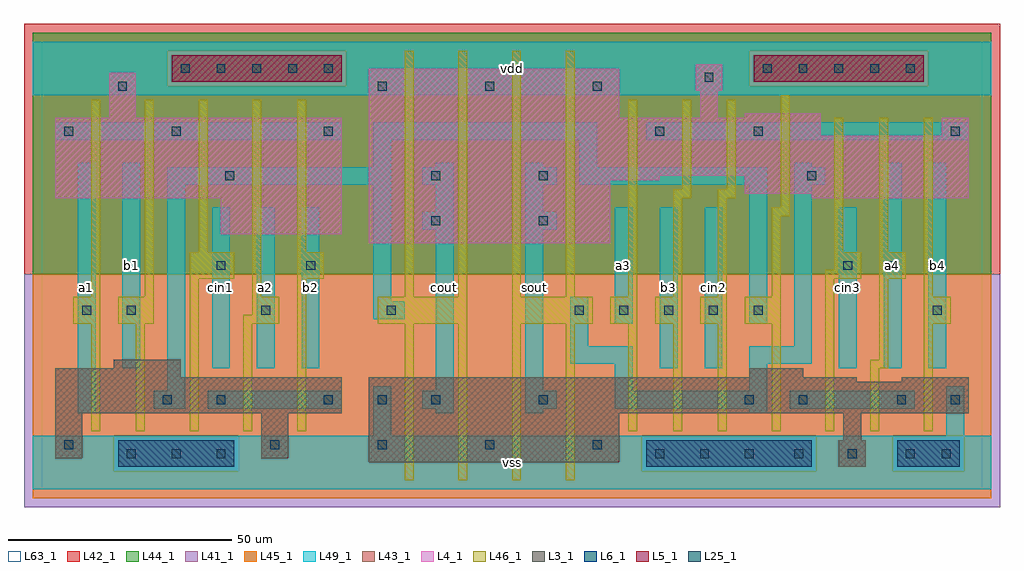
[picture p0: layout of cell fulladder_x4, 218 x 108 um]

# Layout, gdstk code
import gdstk
lib = gdstk.Library(unit=1e-6, precision=1e-09)
def R(c, l, rs):  # rectangles x0, y0, x1, y1
    for r in rs: c.add(gdstk.rectangle(r[:2], r[2:], *l))
def A(c, l, x, y, w, h, nx, ny, dx, dy):  # array of equal rectangles
    R(c, l, [(x+i*dx, y+j*dy, x+i*dx+w, y+j*dy+h) for i in range(nx) for j in range(ny)])
L3_1 = (3, 1)
L4_1 = (4, 1)
L5_1 = (5, 1)
L6_1 = (6, 1)
L25_1 = (25, 1)
L41_1 = (41, 1)
L42_1 = (42, 1)
L43_1 = (43, 1)
L44_1 = (44, 1)
L45_1 = (45, 1)
L46_1 = (46, 1)
L49_1 = (49, 1)
L63_1 = (63, 1)

fulladder_x4 = lib.new_cell('fulladder_x4')
R(fulladder_x4, L3_1, [(178,5,184,11), (73,6,129,17), (3,7,9,17), (49,7,55,17), (179,11,183,17), (3,17,67,25), (73,17,207,24), (73,24,182,25), (192,24,207,25), (3,25,31,27), (158,25,170,27), (16,27,31,29)])
R(fulladder_x4, L4_1, [(73,55,127,69), (40,57,67,65), (3,65,67,83), (172,65,207,66), (157,66,207,70), (73,69,138,70), (73,70,207,79), (73,79,174,83), (201,79,207,83), (15,83,21,93), (73,83,129,94), (147,83,151,89), (157,83,174,84), (146,89,152,95)])
R(fulladder_x4, L5_1, [(29,91,67,97), (159,91,197,97)])
R(fulladder_x4, L6_1, [(17,5,43,11), (17,5,43,11), (135,5,172,11), (135,5,172,11), (191,5,205,11), (191,5,205,11)])
A(fulladder_x4, L25_1, 19, 7, 2, 2, 3, 1, 10, 0)
A(fulladder_x4, L25_1, 137, 7, 2, 2, 3, 1, 10, 0)
A(fulladder_x4, L25_1, 51, 9, 2, 2, 4, 1, 24, 0)
A(fulladder_x4, L25_1, 63, 19, 2, 2, 3, 1, 12, 0)
A(fulladder_x4, L25_1, 119, 39, 2, 2, 5, 1, 10, 0)
A(fulladder_x4, L25_1, 75, 89, 2, 2, 3, 1, 24, 0)
A(fulladder_x4, L25_1, 31, 93, 2, 2, 5, 1, 8, 0)
A(fulladder_x4, L25_1, 161, 93, 2, 2, 5, 1, 8, 0)
R(fulladder_x4, L25_1, [(168,7,170,9), (180,7,182,9), (193,7,195,9), (201,7,203,9), (5,9,7,11), (27,19,29,21), (39,19,41,21), (111,19,113,21), (157,19,159,21), (169,19,171,21), (191,19,193,21), (203,19,205,21), (9,39,11,41), (19,39,21,41), (49,39,51,41), (77,39,79,41), (199,39,201,41), (39,49,41,51), (59,49,61,51), (179,49,181,51), (189,49,191,51), (87,59,89,61), (111,59,113,61), (41,69,43,71), (87,69,89,71), (111,69,113,71), (171,69,173,71), (5,79,7,81), (29,79,31,81), (63,79,65,81), (137,79,139,81), (159,79,161,81), (203,79,205,81), (17,89,19,91), (148,91,150,93)])
R(fulladder_x4, L41_1, [(-4,-4,214,48)])
R(fulladder_x4, L42_1, [(-4,48,214,104)])
R(fulladder_x4, L43_1, [(17,5,43,11), (135,5,172,11), (178,5,184,11), (191,5,205,11), (73,6,129,17), (3,7,9,17), (49,7,55,17), (179,11,183,17), (3,17,67,25), (73,17,207,24), (73,24,182,25), (192,24,207,25), (3,25,31,27), (158,25,170,27), (16,27,31,29), (73,55,127,69), (40,57,67,65), (3,65,67,83), (172,65,207,66), (157,66,207,70), (73,69,138,70), (73,70,207,79), (73,79,174,83), (201,79,207,83), (15,83,21,93), (73,83,129,94), (147,83,151,89), (157,83,174,84), (146,89,152,95), (29,91,67,97), (159,91,197,97)])
R(fulladder_x4, L44_1, [(16,4,44,12), (134,4,173,12), (190,4,206,12), (-2,48,212,90), (-2,90,28,98), (68,90,158,98), (198,90,212,98), (-2,98,212,102)])
R(fulladder_x4, L45_1, [(-2,-2,212,4), (-2,4,16,12), (44,4,134,12), (173,4,190,12), (206,4,212,12), (-2,12,212,48), (28,90,68,98), (158,90,198,98)])
A(fulladder_x4, L46_1, 81, 2, 2, 35, 4, 1, 12, 0)
A(fulladder_x4, L46_1, 131, 13, 2, 24, 3, 1, 10, 0)
A(fulladder_x4, L46_1, 127, 37, 6, 6, 3, 1, 10, 0)
A(fulladder_x4, L46_1, 81, 43, 2, 55, 4, 1, 12, 0)
R(fulladder_x4, L46_1, [(11,13,13,37), (21,13,23,37), (33,13,35,47), (45,13,47,37), (57,13,59,47), (163,13,165,37), (175,13,177,47), (185,13,187,27), (197,13,199,37), (185,27,189,29), (187,29,189,47), (7,37,13,43), (17,37,25,43), (45,37,53,39), (75,37,95,43), (105,37,123,43), (157,37,165,43), (197,37,203,43), (47,39,53,43), (11,43,13,87), (23,43,25,87), (47,43,49,87), (131,43,133,87), (141,43,143,65), (151,43,153,65), (163,43,165,61), (197,43,199,83), (33,47,43,53), (57,47,63,53), (175,47,183,49), (187,47,193,53), (177,49,183,53), (35,53,37,87), (57,53,59,87), (177,53,179,83), (187,53,189,83), (163,61,167,63), (165,63,167,88), (141,65,145,67), (151,65,155,67), (143,67,145,87), (153,67,155,87)])
A(fulladder_x4, L49_1, 38, 27, 4, 36, 3, 1, 10, 0)
R(fulladder_x4, L49_1, [(-2,0,212,12), (74,12,78,23), (202,12,206,23), (8,17,12,73), (88,17,92,18), (108,17,112,18), (158,17,162,18), (25,18,32,22), (37,18,67,22), (85,18,92,22), (108,18,115,22), (128,18,162,22), (167,18,195,22), (28,22,32,68), (88,22,92,58), (108,22,112,58), (128,22,132,28), (158,22,162,28), (18,27,22,73), (138,27,142,63), (148,27,152,63), (178,27,182,63), (188,27,192,73), (198,27,202,73), (118,28,132,32), (158,28,172,32), (118,32,122,43), (168,32,172,68), (128,37,132,63), (158,37,162,68), (74,38,81,42), (74,42,78,68), (85,58,92,62), (108,58,115,62), (88,62,92,68), (108,62,112,68), (28,68,78,72), (85,68,92,72), (108,68,115,72), (120,68,162,72), (168,68,175,72), (74,72,78,78), (88,72,92,73), (108,72,112,73), (120,72,124,78), (168,72,172,73), (3,78,67,82), (74,78,124,82), (135,78,207,82), (-2,88,212,100)])
R(fulladder_x4, L63_1, [(0,0,210,100)])
fulladder_x4.add(gdstk.Label('b1', (20,50), layer=49, texttype=1))
fulladder_x4.add(gdstk.Label('a1', (10,45), layer=49, texttype=1))
fulladder_x4.add(gdstk.Label('cin1', (40,45), layer=49, texttype=1))
fulladder_x4.add(gdstk.Label('a2', (50,45), layer=49, texttype=1))
fulladder_x4.add(gdstk.Label('b2', (60,45), layer=49, texttype=1))
fulladder_x4.add(gdstk.Label('vss', (105,6), layer=49, texttype=1))
fulladder_x4.add(gdstk.Label('cout', (90,45), layer=49, texttype=1))
fulladder_x4.add(gdstk.Label('sout', (110,45), layer=49, texttype=1))
fulladder_x4.add(gdstk.Label('vdd', (105,94), layer=49, texttype=1))
fulladder_x4.add(gdstk.Label('a3', (130,50), layer=49, texttype=1))
fulladder_x4.add(gdstk.Label('b3', (140,45), layer=49, texttype=1))
fulladder_x4.add(gdstk.Label('cin2', (150,45), layer=49, texttype=1))
fulladder_x4.add(gdstk.Label('b4', (200,50), layer=49, texttype=1))
fulladder_x4.add(gdstk.Label('a4', (190,50), layer=49, texttype=1))
fulladder_x4.add(gdstk.Label('cin3', (180,45), layer=49, texttype=1))

lib.write_gds('fulladder_x4.gds')
